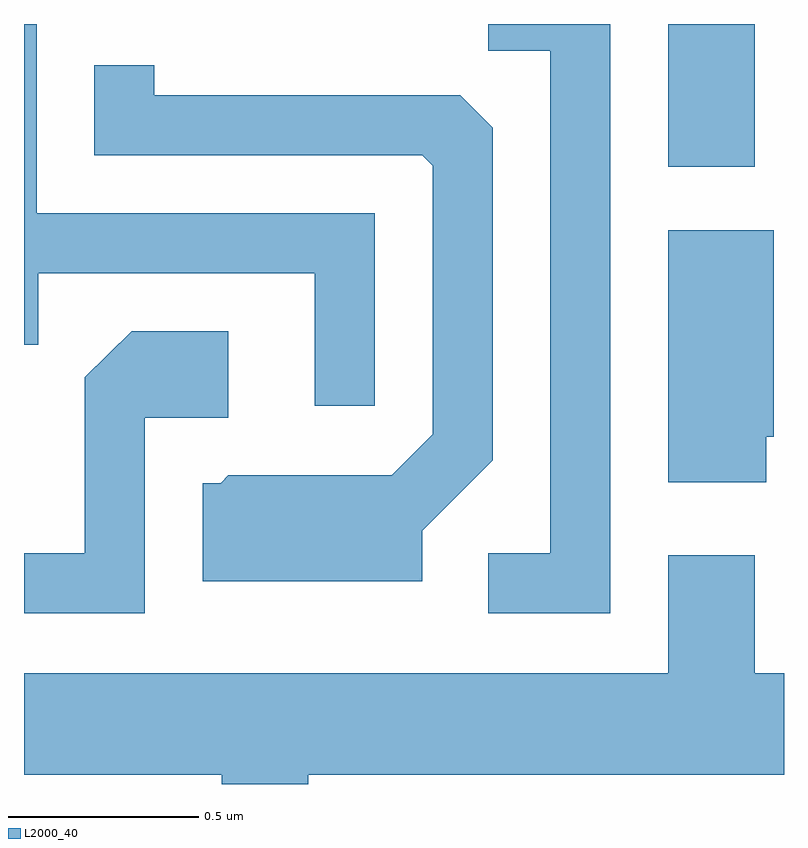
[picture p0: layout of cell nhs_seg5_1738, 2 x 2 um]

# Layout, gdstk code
import gdstk
lib = gdstk.Library(unit=1e-6, precision=1e-09)
def R(c, l, rs):  # rectangles x0, y0, x1, y1
    for r in rs: c.add(gdstk.rectangle(r[:2], r[2:], *l))
def P(c, l, *ps):  # polygons
    for p in ps: c.add(gdstk.Polygon(p, *l))
L2000_40 = (2000, 40)

nhs_seg5_1738 = lib.new_cell('nhs_seg5_1738')
R(nhs_seg5_1738, L2000_40, [(199.306,1491.696,199.534,1492.072)])
P(nhs_seg5_1738, L2000_40, [(199.154,1492.072),(198.833,1492.072),(198.833,1492.001),(198.996,1492.001),(198.996,1490.679),(198.833,1490.679),(198.833,1490.521),(199.154,1490.521)],
  [(198.534,1491.574),(197.644,1491.574),(197.644,1492.072),(197.611,1492.072),(197.611,1491.228),(197.649,1491.228),(197.649,1491.416),(198.376,1491.416),(198.376,1491.068),(198.534,1491.068)],
  [(198.659,1490.739),(198.844,1490.924),(198.844,1491.799),(198.759,1491.884),(197.954,1491.884),(197.954,1491.963),(197.796,1491.963),(197.796,1491.726),(198.659,1491.726),(198.686,1491.699),(198.686,1490.992),(198.579,1490.884),(198.149,1490.884),(198.129,1490.864),(198.081,1490.864),(198.081,1490.606),(198.659,1490.606)],
  [(199.564,1490.986),(199.584,1490.986),(199.584,1491.529),(199.306,1491.529),(199.306,1490.866),(199.564,1490.866)],
  [(197.929,1491.036),(198.149,1491.036),(198.149,1491.264),(197.894,1491.264),(197.771,1491.142),(197.771,1490.679),(197.611,1490.679),(197.611,1490.521),(197.929,1490.521)],
  [(198.359,1490.096),(199.611,1490.096),(199.611,1490.364),(199.534,1490.364),(199.534,1490.674),(199.306,1490.674),(199.306,1490.364),(197.611,1490.364),(197.611,1490.096),(198.131,1490.096),(198.131,1490.072),(198.359,1490.072)])

lib.write_gds('nhs_seg5_1738.gds')
